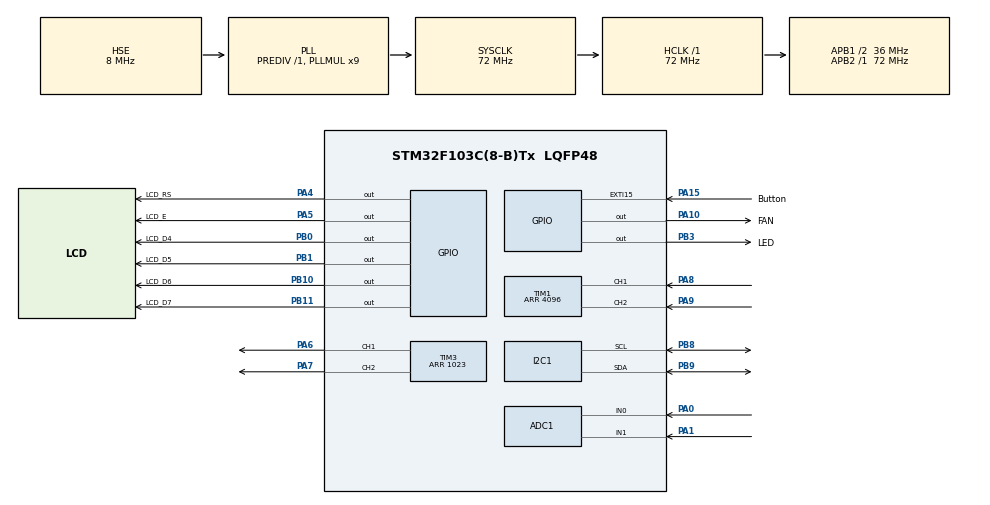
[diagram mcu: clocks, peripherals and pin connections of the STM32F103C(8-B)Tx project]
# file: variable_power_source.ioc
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Mcu.Family=STM32F1
NVIC.ADC1_2_IRQn=true\:0\:0\:false\:false\:true\:true\:true
ADC1.ContinuousConvMode=ENABLE
ADC1.SamplingTime-6\#ChannelRegularConversion=ADC_SAMPLETIME_239CYCLES_5
TIM1.EncoderMode=TIM_ENCODERMODE_TI12
PB0.GPIO_Label=LCD_D4
NVIC.TIM1_UP_IRQn=true\:0\:0\:false\:false\:true\:true\:true
PB11.Signal=GPIO_Output
RCC.SYSCLKSource=RCC_SYSCLKSOURCE_PLLCLK
ProjectManager.StackSize=0x400
PD1-OSC_OUT.Signal=RCC_OSC_OUT
PA15.GPIO_Label=Button
PA15.GPIO_ModeDefaultEXTI=GPIO_MODE_IT_FALLING
RCC.HCLKFreq_Value=72000000
RCC.APB2TimFreq_Value=72000000
TIM3.Period=1023
Dma.ADC1.0.Direction=DMA_PERIPH_TO_MEMORY
Dma.ADC1.0.MemDataAlignment=DMA_MDATAALIGN_WORD
RCC.AHBFreq_Value=72000000
TIM3.Channel-PWM\ Generation1\ CH1=TIM_CHANNEL_1
NVIC.EXTI15_10_IRQn=true\:0\:0\:false\:false\:true\:true\:true
ADC1.Channel-0\#ChannelRegularConversion=ADC_CHANNEL_0
RCC.PLLMUL=RCC_PLL_MUL9
VP_ADC1_Vref_Input.Mode=IN-Vrefint
ADC1.Channel-6\#ChannelRegularConversion=ADC_CHANNEL_VREFINT
PA14.Mode=Serial_Wire
PB1.GPIO_Label=LCD_D5
Dma.ADC1.0.PeriphInc=DMA_PINC_DISABLE
PA10.GPIO_Label=FAN
PA8.Signal=S_TIM1_CH1
SH.ADCx_IN0.0=ADC1_IN0,IN0
SH.S_TIM3_CH1.0=TIM3_CH1,PWM Generation1 CH1
ADC1.SamplingTime-0\#ChannelRegularConversion=ADC_SAMPLETIME_239CYCLES_5
PB9.Signal=I2C1_SDA
Mcu.Package=LQFP48
PB1.Signal=GPIO_Output
PA6.Signal=S_TIM3_CH1
PA10.Signal=GPIO_Output
PA15.Signal=GPXTI15
SH.ADCx_IN1.0=ADC1_IN1,IN1
RCC.APB1TimFreq_Value=72000000
TIM1.Period=4096
Dma.Request0=ADC1
ADC1.Rank-6\#ChannelRegularConversion=3
PA4.GPIO_Label=LCD_RS
PB3.GPIO_Label=LED
RCC.PLLSourceVirtual=RCC_PLLSOURCE_HSE
Dma.ADC1.0.Instance=DMA1_Channel1
ADC1.Rank-0\#ChannelRegularConversion=1
PD1-OSC_OUT.Mode=HSE-External-Oscillator
PB11.GPIO_Label=LCD_D7
PD0-OSC_IN.Signal=RCC_OSC_IN
RCC.APB1CLKDivider=RCC_HCLK_DIV2
PA0-WKUP.Signal=ADCx_IN0
RCC.ADCPresc=RCC_ADCPCLK2_DIV6
PA13.Signal=SYS_JTMS-SWDIO
TIM1.AutoReloadPreload=TIM_AUTORELOAD_PRELOAD_ENABLE
Dma.ADC1.0.PeriphDataAlignment=DMA_PDATAALIGN_WORD
SH.S_TIM1_CH1.0=TIM1_CH1,Encoder_Interface
ProjectManager.TargetToolchain=STM32CubeIDE
PB10.GPIO_Label=LCD_D6
Dma.ADC1.0.Mode=DMA_CIRCULAR
I2C1.I2C_Mode=I2C_Fast
Dma.ADC1.0.Priority=DMA_PRIORITY_LOW
PB9.Mode=I2C
PA9.Signal=S_TIM1_CH2
ADC1.Channel-1\#ChannelRegularConversion=ADC_CHANNEL_1
RCC.USBFreq_Value=72000000
PA1.Signal=ADCx_IN1
PD0-OSC_IN.Mode=HSE-External-Oscillator
PB10.Signal=GPIO_Output
PA5.Signal=GPIO_Output
SH.S_TIM3_CH2.0=TIM3_CH2,PWM Generation2 CH2
NVIC.TIM1_TRG_COM_IRQn=true\:0\:0\:false\:false\:true\:true\:true
board=custom
RCC.APB2Freq_Value=72000000
SH.S_TIM1_CH2.0=TIM1_CH2,Encoder_Interface
TIM1.IC2Filter=10
ADC1.NbrOfConversion=3
PA13.Mode=Serial_Wire
Mcu.Name=STM32F103C(8-B)Tx
NVIC.TIM1_CC_IRQn=true\:0\:0\:false\:false\:true\:true\:true
PB3.Signal=GPIO_Output
PA4.Signal=GPIO_Output
ADC1.SamplingTime-1\#ChannelRegularConversion=ADC_SAMPLETIME_239CYCLES_5
RCC.SYSCLKFreq_VALUE=72000000
ADC1.master=1
PA5.GPIO_Label=LCD_E
TIM1.IC1Filter=10
ADC1.Rank-1\#ChannelRegularConversion=2
PA14.Signal=SYS_JTCK-SWCLK
Dma.ADC1.0.MemInc=DMA_MINC_ENABLE
NVIC.TIM1_BRK_IRQn=true\:0\:0\:false\:false\:true\:true\:true
ProjectManager.HeapSize=0x200
NVIC.PriorityGroup=NVIC_PRIORITYGROUP_4
ADC1.NbrOfConversionFlag=1
TIM3.Channel-PWM\ Generation2\ CH2=TIM_CHANNEL_2
PB8.Mode=I2C
PA15.GPIO_PuPd=GPIO_PULLUP
PB8.Signal=I2C1_SCL
NVIC.DMA1_Channel1_IRQn=true\:0\:0\:false\:false\:true\:false\:true
RCC.APB1Freq_Value=36000000
PB0.Signal=GPIO_Output
PA7.Signal=S_TIM3_CH2

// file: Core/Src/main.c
/* USER CODE BEGIN Header */
/**
  ******************************************************************************
  * @file           : main.c
  * @brief          : Main program body
  ******************************************************************************
  * @attention
  *
  * <h2><center>&copy; Copyright (c) 2021 STMicroelectronics.
  * All rights reserved.</center></h2>
  *
  * This software component is licensed by ST under BSD 3-Clause license,
  * the "License"; You may not use this file except in compliance with the
  * License. You may obtain a copy of the License at:
  *                        opensource.org/licenses/BSD-3-Clause
  *
  ******************************************************************************
  */
/* USER CODE END Header */

#include "main.h"

/* USER CODE BEGIN Includes */
#include "fonts.h"
#include "ssd1306.h"
#include "test.h"
#include <stdio.h>
/* USER CODE END Includes */

ADC_HandleTypeDef hadc1;
DMA_HandleTypeDef hdma_adc1;

I2C_HandleTypeDef hi2c1;

TIM_HandleTypeDef htim1;
TIM_HandleTypeDef htim3;

void SystemClock_Config(void);
static void MX_GPIO_Init(void);
static void MX_DMA_Init(void);
static void MX_ADC1_Init(void);
static void MX_I2C1_Init(void);
static void MX_TIM1_Init(void);
static void MX_TIM3_Init(void);
/* USER CODE BEGIN PFP */

void encoder_it(void);
void button_it(void);
void display_oled(void);
void read_values(void);
void control(void);
/* USER CODE END PFP */

/* USER CODE BEGIN 0 */
  uint32_t a=0;
  char as[15];
  uint8_t e=0;
  float volt=0;
  float corr=0;
  uint16_t _volt=0;
  uint16_t _corr=0;
  uint8_t flag=0;
  uint32_t readed_adc[3];
  uint64_t __readed_adc[3];
  uint32_t _readed_adc[3];
  float val=0;
  float val1=0;
  uint16_t set_corr=0;
  float VREFINT_VAL =0;
  float volts =0;
  uint8_t contador=0;

  void HAL_ADC_ConvCpltCallback(ADC_HandleTypeDef* hadc)
  {
    if(hadc->Instance == ADC1)
	{
    	contador++;
	  for(int i=0; i<3;i++)
	  {
      __readed_adc[i] += _readed_adc[i];
	  }
	  if(contador == 10)
	  {
		  contador=0;
		  readed_adc[0] = __readed_adc[0] / 10;
		  readed_adc[1] = __readed_adc[1] / 10;
		  readed_adc[2] = __readed_adc[2] / 10;
	   VREFINT_VAL= (1.2000/readed_adc[2])*4095.000;

	   __readed_adc[0]=0;
	   __readed_adc[1]=0;
	   __readed_adc[2]=0;
	  }
	}
  }
/* USER CODE END 0 */

int main(void)
{

  /* MCU Configuration--------------------------------------------------------*/

  /* Reset of all peripherals, Initializes the Flash interface and the Systick. */
  HAL_Init();

  /* Configure the system clock */
  SystemClock_Config();

  /* Initialize all configured peripherals */
  MX_GPIO_Init();
  MX_DMA_Init();
  MX_ADC1_Init();
  MX_I2C1_Init();
  MX_TIM1_Init();
  MX_TIM3_Init();
  /* USER CODE BEGIN 2 */

  HAL_ADCEx_Calibration_Start(&hadc1);

  HAL_TIM_PWM_Start(&htim3, TIM_CHANNEL_1);
  HAL_TIM_PWM_Start(&htim3, TIM_CHANNEL_2);

  HAL_TIM_Encoder_Start_IT(&htim1, TIM_CHANNEL_ALL);

  SSD1306_Init();

  HAL_ADC_Start_DMA(&hadc1, _readed_adc, 3);
  /* USER CODE END 2 */

  /* Infinite loop */
  while (1)
  {

    /* USER CODE BEGIN 3 */

	read_values();
	control();
	/*if(volt <= 2.08) val1 =volt+0.400;
	if(volt >2.08  && volt <=3.008 )val1 =volt+0.300;
	if(volt >3.08  && volt <=4.08 )val1 =volt+0.200;
	if(volt >4.08  && volt <=5.00 )val1 =volt+0.100;

	if(volt >6.00  && volt <=7.00 )val1 =volt-0.100;
	if(volt >7.00  && volt <=8.20 )val1 =volt-0.200;
	if(volt >8.30  && volt <=9.60 )val1 =volt-0.300;
	if(volt >9.60  && volt <=10.40 )val1 =volt-0.400;
	if(volt >10.40  && volt <=12.00 )val1 =volt-0.500;
	if(volt >12.00  && volt <=14.50 )val1 =volt-0.600;
	if(volt >14.50  && volt <=15.00 )val1 =volt-0.900;
	if(volt >15.00  && volt <=19.00 )val1 =volt-1.000;
	if(volt >19.00  && volt <=22.50 )val1 =volt-1.300;
	if(volt >22.50  && volt <=25.00 )val1 =volt-1.700;
	if(volt >25.00  && volt <=28.00 )val1 =volt-2.000;
	if(volt >28.00  )val1 =volt-2.300;*/
	val1 =volt;
	val  =corr;
	display_oled();

	if(val >0)HAL_GPIO_WritePin(FAN_GPIO_Port, FAN_Pin, 1);
	else HAL_GPIO_WritePin(FAN_GPIO_Port, FAN_Pin, 0);
	if(val1 >0.5)HAL_GPIO_WritePin(LED_GPIO_Port, LED_Pin, 1);
		else HAL_GPIO_WritePin(LED_GPIO_Port, LED_Pin, 0);
	HAL_Delay(500);

  }
  /* USER CODE END 3 */
}

void SystemClock_Config(void)
{
  RCC_OscInitTypeDef RCC_OscInitStruct = {0};
  RCC_ClkInitTypeDef RCC_ClkInitStruct = {0};
  RCC_PeriphCLKInitTypeDef PeriphClkInit = {0};

  /** Initializes the CPU, AHB and APB busses clocks
  */
  RCC_OscInitStruct.OscillatorType = RCC_OSCILLATORTYPE_HSE;
  RCC_OscInitStruct.HSEState = RCC_HSE_ON;
  RCC_OscInitStruct.HSEPredivValue = RCC_HSE_PREDIV_DIV1;
  RCC_OscInitStruct.HSIState = RCC_HSI_ON;
  RCC_OscInitStruct.PLL.PLLState = RCC_PLL_ON;
  RCC_OscInitStruct.PLL.PLLSource = RCC_PLLSOURCE_HSE;
  RCC_OscInitStruct.PLL.PLLMUL = RCC_PLL_MUL9;
  if (HAL_RCC_OscConfig(&RCC_OscInitStruct) != HAL_OK)
  {
    Error_Handler();
  }
  /** Initializes the CPU, AHB and APB busses clocks
  */
  RCC_ClkInitStruct.ClockType = RCC_CLOCKTYPE_HCLK|RCC_CLOCKTYPE_SYSCLK
                              |RCC_CLOCKTYPE_PCLK1|RCC_CLOCKTYPE_PCLK2;
  RCC_ClkInitStruct.SYSCLKSource = RCC_SYSCLKSOURCE_PLLCLK;
  RCC_ClkInitStruct.AHBCLKDivider = RCC_SYSCLK_DIV1;
  RCC_ClkInitStruct.APB1CLKDivider = RCC_HCLK_DIV2;
  RCC_ClkInitStruct.APB2CLKDivider = RCC_HCLK_DIV1;

  if (HAL_RCC_ClockConfig(&RCC_ClkInitStruct, FLASH_LATENCY_2) != HAL_OK)
  {
    Error_Handler();
  }
  PeriphClkInit.PeriphClockSelection = RCC_PERIPHCLK_ADC;
  PeriphClkInit.AdcClockSelection = RCC_ADCPCLK2_DIV6;
  if (HAL_RCCEx_PeriphCLKConfig(&PeriphClkInit) != HAL_OK)
  {
    Error_Handler();
  }
}

static void MX_ADC1_Init(void)
{

  ADC_ChannelConfTypeDef sConfig = {0};

  /** Common config
  */
  hadc1.Instance = ADC1;
  hadc1.Init.ScanConvMode = ADC_SCAN_ENABLE;
  hadc1.Init.ContinuousConvMode = ENABLE;
  hadc1.Init.DiscontinuousConvMode = DISABLE;
  hadc1.Init.ExternalTrigConv = ADC_SOFTWARE_START;
  hadc1.Init.DataAlign = ADC_DATAALIGN_RIGHT;
  hadc1.Init.NbrOfConversion = 3;
  if (HAL_ADC_Init(&hadc1) != HAL_OK)
  {
    Error_Handler();
  }
  /** Configure Regular Channel
  */
  sConfig.Channel = ADC_CHANNEL_0;
  sConfig.Rank = ADC_REGULAR_RANK_1;
  sConfig.SamplingTime = ADC_SAMPLETIME_239CYCLES_5;
  if (HAL_ADC_ConfigChannel(&hadc1, &sConfig) != HAL_OK)
  {
    Error_Handler();
  }
  /** Configure Regular Channel
  */
  sConfig.Channel = ADC_CHANNEL_1;
  sConfig.Rank = ADC_REGULAR_RANK_2;
  if (HAL_ADC_ConfigChannel(&hadc1, &sConfig) != HAL_OK)
  {
    Error_Handler();
  }
  /** Configure Regular Channel
  */
  sConfig.Channel = ADC_CHANNEL_VREFINT;
  sConfig.Rank = ADC_REGULAR_RANK_3;
  if (HAL_ADC_ConfigChannel(&hadc1, &sConfig) != HAL_OK)
  {
    Error_Handler();
  }

}

static void MX_I2C1_Init(void)
{

  hi2c1.Instance = I2C1;
  hi2c1.Init.ClockSpeed = 400000;
  hi2c1.Init.DutyCycle = I2C_DUTYCYCLE_2;
  hi2c1.Init.OwnAddress1 = 0;
  hi2c1.Init.AddressingMode = I2C_ADDRESSINGMODE_7BIT;
  hi2c1.Init.DualAddressMode = I2C_DUALADDRESS_DISABLE;
  hi2c1.Init.OwnAddress2 = 0;
  hi2c1.Init.GeneralCallMode = I2C_GENERALCALL_DISABLE;
  hi2c1.Init.NoStretchMode = I2C_NOSTRETCH_DISABLE;
  if (HAL_I2C_Init(&hi2c1) != HAL_OK)
  {
    Error_Handler();
  }

}

static void MX_TIM1_Init(void)
{

  TIM_Encoder_InitTypeDef sConfig = {0};
  TIM_MasterConfigTypeDef sMasterConfig = {0};

  htim1.Instance = TIM1;
  htim1.Init.Prescaler = 0;
  htim1.Init.CounterMode = TIM_COUNTERMODE_UP;
  htim1.Init.Period = 4096;
  htim1.Init.ClockDivision = TIM_CLOCKDIVISION_DIV1;
  htim1.Init.RepetitionCounter = 0;
  htim1.Init.AutoReloadPreload = TIM_AUTORELOAD_PRELOAD_ENABLE;
  sConfig.EncoderMode = TIM_ENCODERMODE_TI12;
  sConfig.IC1Polarity = TIM_ICPOLARITY_RISING;
  sConfig.IC1Selection = TIM_ICSELECTION_DIRECTTI;
  sConfig.IC1Prescaler = TIM_ICPSC_DIV1;
  sConfig.IC1Filter = 10;
  sConfig.IC2Polarity = TIM_ICPOLARITY_RISING;
  sConfig.IC2Selection = TIM_ICSELECTION_DIRECTTI;
  sConfig.IC2Prescaler = TIM_ICPSC_DIV1;
  sConfig.IC2Filter = 10;
  if (HAL_TIM_Encoder_Init(&htim1, &sConfig) != HAL_OK)
  {
    Error_Handler();
  }
  sMasterConfig.MasterOutputTrigger = TIM_TRGO_RESET;
  sMasterConfig.MasterSlaveMode = TIM_MASTERSLAVEMODE_DISABLE;
  if (HAL_TIMEx_MasterConfigSynchronization(&htim1, &sMasterConfig) != HAL_OK)
  {
    Error_Handler();
  }

}

static void MX_TIM3_Init(void)
{

  TIM_MasterConfigTypeDef sMasterConfig = {0};
  TIM_OC_InitTypeDef sConfigOC = {0};

  htim3.Instance = TIM3;
  htim3.Init.Prescaler = 0;
  htim3.Init.CounterMode = TIM_COUNTERMODE_UP;
  htim3.Init.Period = 1023;
  htim3.Init.ClockDivision = TIM_CLOCKDIVISION_DIV1;
  htim3.Init.AutoReloadPreload = TIM_AUTORELOAD_PRELOAD_DISABLE;
  if (HAL_TIM_PWM_Init(&htim3) != HAL_OK)
  {
    Error_Handler();
  }
  sMasterConfig.MasterOutputTrigger = TIM_TRGO_RESET;
  sMasterConfig.MasterSlaveMode = TIM_MASTERSLAVEMODE_DISABLE;
  if (HAL_TIMEx_MasterConfigSynchronization(&htim3, &sMasterConfig) != HAL_OK)
  {
    Error_Handler();
  }
  sConfigOC.OCMode = TIM_OCMODE_PWM1;
  sConfigOC.Pulse = 0;
  sConfigOC.OCPolarity = TIM_OCPOLARITY_HIGH;
  sConfigOC.OCFastMode = TIM_OCFAST_DISABLE;
  if (HAL_TIM_PWM_ConfigChannel(&htim3, &sConfigOC, TIM_CHANNEL_1) != HAL_OK)
  {
    Error_Handler();
  }
  if (HAL_TIM_PWM_ConfigChannel(&htim3, &sConfigOC, TIM_CHANNEL_2) != HAL_OK)
  {
    Error_Handler();
  }
  HAL_TIM_MspPostInit(&htim3);

}

static void MX_DMA_Init(void)
{

  /* DMA controller clock enable */
  __HAL_RCC_DMA1_CLK_ENABLE();

  /* DMA interrupt init */
  /* DMA1_Channel1_IRQn interrupt configuration */
  HAL_NVIC_SetPriority(DMA1_Channel1_IRQn, 0, 0);
  HAL_NVIC_EnableIRQ(DMA1_Channel1_IRQn);

}

static void MX_GPIO_Init(void)
{
  GPIO_InitTypeDef GPIO_InitStruct = {0};

  /* GPIO Ports Clock Enable */
  __HAL_RCC_GPIOD_CLK_ENABLE();
  __HAL_RCC_GPIOA_CLK_ENABLE();
  __HAL_RCC_GPIOB_CLK_ENABLE();

  /*Configure GPIO pin Output Level */
  HAL_GPIO_WritePin(GPIOA, LCD_RS_Pin|LCD_E_Pin|FAN_Pin, GPIO_PIN_RESET);

  /*Configure GPIO pin Output Level */
  HAL_GPIO_WritePin(GPIOB, LCD_D4_Pin|LCD_D5_Pin|LCD_D6_Pin|LCD_D7_Pin
                          |LED_Pin, GPIO_PIN_RESET);

  /*Configure GPIO pins : LCD_RS_Pin LCD_E_Pin FAN_Pin */
  GPIO_InitStruct.Pin = LCD_RS_Pin|LCD_E_Pin|FAN_Pin;
  GPIO_InitStruct.Mode = GPIO_MODE_OUTPUT_PP;
  GPIO_InitStruct.Pull = GPIO_NOPULL;
  GPIO_InitStruct.Speed = GPIO_SPEED_FREQ_LOW;
  HAL_GPIO_Init(GPIOA, &GPIO_InitStruct);

  /*Configure GPIO pins : LCD_D4_Pin LCD_D5_Pin LCD_D6_Pin LCD_D7_Pin
                           LED_Pin */
  GPIO_InitStruct.Pin = LCD_D4_Pin|LCD_D5_Pin|LCD_D6_Pin|LCD_D7_Pin
                          |LED_Pin;
  GPIO_InitStruct.Mode = GPIO_MODE_OUTPUT_PP;
  GPIO_InitStruct.Pull = GPIO_NOPULL;
  GPIO_InitStruct.Speed = GPIO_SPEED_FREQ_LOW;
  HAL_GPIO_Init(GPIOB, &GPIO_InitStruct);

  /*Configure GPIO pin : Button_Pin */
  GPIO_InitStruct.Pin = Button_Pin;
  GPIO_InitStruct.Mode = GPIO_MODE_IT_FALLING;
  GPIO_InitStruct.Pull = GPIO_PULLUP;
  HAL_GPIO_Init(Button_GPIO_Port, &GPIO_InitStruct);

  /* EXTI interrupt init*/
  HAL_NVIC_SetPriority(EXTI15_10_IRQn, 0, 0);
  HAL_NVIC_EnableIRQ(EXTI15_10_IRQn);

}

/* USER CODE BEGIN 4 */

void control(void)
{
  TIM3->CCR1 = _volt;
  TIM3->CCR2 = _corr;

}
void read_values(void)
{

	 //VREFINT_VAL= (1.2000/readed_adc[5])*4095.000;

  volt = (readed_adc[0]*(3.300/4096.0000))/0.083;
  corr = (readed_adc[1]*(3.300/4096.0000))/0.15000;

}

void encoder_it(void)
{
  //a=(TIM1->CNT)>>2;

  if(flag==0) _volt = ((TIM1->CNT)>>2);
  if(flag==0xFF) _corr = ((TIM1->CNT)>>2);
}

void button_it(void)
{
  flag = ~flag;

  if(flag==0) TIM1->CNT = (_volt<<2);
  if(flag==0xFF) TIM1->CNT = (_corr<<2);
}

void display_oled(void)
{

  //SSD1306_Clear();
  SSD1306_GotoXY(00, 1);

  sprintf(as,"%05.2f V",val1);
  SSD1306_Puts(as, &Font_16x26, 1);
  if (flag == 0) SSD1306_Puts("<", &Font_11x18, 1);
  else SSD1306_Puts(" ", &Font_11x18, 1);
  SSD1306_GotoXY(0, 27);
  sprintf(as,"%05.2f A",val);
  SSD1306_Puts(as, &Font_16x26, 1);

  SSD1306_GotoXY(0, 53);
  sprintf(as,"SET:%05.2fA",_corr*0.014662);
  if (flag == 0xFF) SSD1306_Puts(as, &Font_7x10, 0);
  else SSD1306_Puts(as, &Font_7x10, 1);

  sprintf(as," %06.2fW",val1*val);
  SSD1306_Puts(as, &Font_7x10, 1);
  SSD1306_UpdateScreen();

}
/* USER CODE END 4 */

void Error_Handler(void)
{
}

/************************ (C) COPYRIGHT STMicroelectronics *****END OF FILE****/
